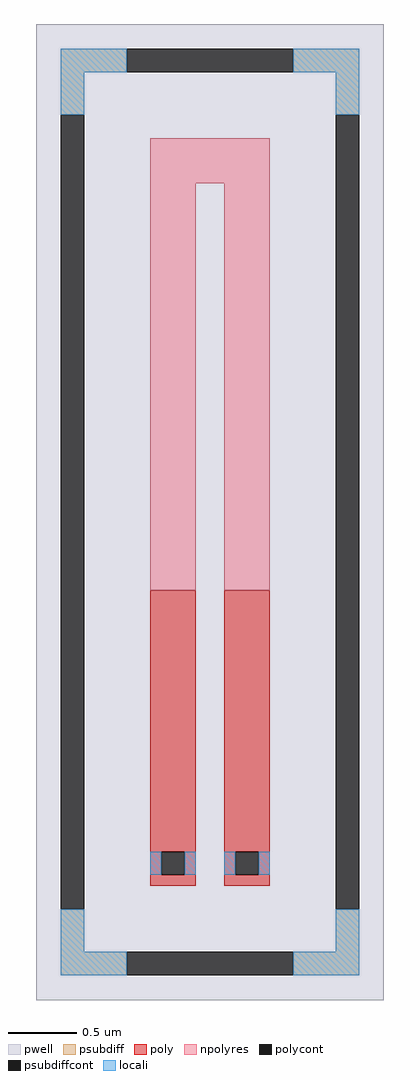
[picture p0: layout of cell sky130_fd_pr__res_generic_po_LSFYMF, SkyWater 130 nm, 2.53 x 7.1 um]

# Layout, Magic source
magic
tech sky130B
magscale 1 2
<< pwell >>
rect -253 -710 253 710
<< psubdiff >>
rect -217 640 -121 674
rect 121 640 217 674
rect -217 578 -183 640
rect 183 578 217 640
rect -217 -640 -183 -578
rect 183 -640 217 -578
rect -217 -674 -121 -640
rect 121 -674 217 -640
<< psubdiffcont >>
rect -121 640 121 674
rect -217 -578 -183 578
rect 183 -578 217 578
rect -121 -674 121 -640
<< poly >>
rect -87 -494 -21 -114
rect -87 -528 -71 -494
rect -37 -528 -21 -494
rect -87 -544 -21 -528
rect 21 -494 87 -114
rect 21 -528 37 -494
rect 71 -528 87 -494
rect 21 -544 87 -528
<< polycont >>
rect -71 -528 -37 -494
rect 37 -528 71 -494
<< npolyres >>
rect -87 478 87 544
rect -87 -114 -21 478
rect 21 -114 87 478
<< locali >>
rect -217 640 -121 674
rect 121 640 217 674
rect -217 578 -183 640
rect 183 578 217 640
rect -87 -528 -71 -494
rect -37 -528 -21 -494
rect 21 -528 37 -494
rect 71 -528 87 -494
rect -217 -640 -183 -578
rect 183 -640 217 -578
rect -217 -674 -121 -640
rect 121 -674 217 -640
<< properties >>
string FIXED_BBOX -200 -657 200 657
string gencell sky130_fd_pr__res_generic_po
string library sky130
string parameters w 0.33 l 2.77 m 1 nx 2 wmin 0.330 lmin 1.650 rho 48.2 val 915.8 dummy 0 dw 0.0 term 0.0 sterm 0.0 caplen 0.4 snake 1 guard 1 glc 1 grc 1 gtc 1 gbc 1 roverlap 0 endcov 100 full_metal 1 hv_guard 0 n_guard 0 vias 1 viagb 0 viagt 0 viagl 0 viagr 0
<< end >>
